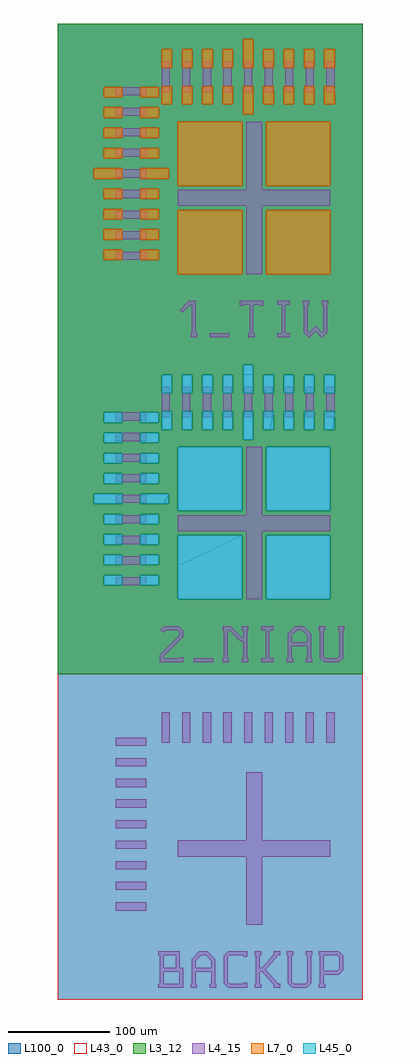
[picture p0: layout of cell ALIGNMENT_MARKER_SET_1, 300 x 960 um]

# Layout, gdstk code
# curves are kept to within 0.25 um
import gdstk
lib = gdstk.Library(unit=1e-6, precision=5e-09)
def R(c, l, rs):  # rectangles x0, y0, x1, y1
    for r in rs: c.add(gdstk.rectangle(r[:2], r[2:], *l))
def A(c, l, x, y, w, h, nx, ny, dx, dy):  # array of equal rectangles
    R(c, l, [(x+i*dx, y+j*dy, x+i*dx+w, y+j*dy+h) for i in range(nx) for j in range(ny)])
def P(c, l, *ps):  # polygons
    for p in ps: c.add(gdstk.Polygon(p, *l))
L3_12 = (3, 12)
L4_15 = (4, 15)
L7_0 = (7, 0)
L43_0 = (43, 0)
L45_0 = (45, 0)
L100_0 = (100, 0)

alignment_marker_1 = lib.new_cell('ALIGNMENT_MARKER_1')
A(alignment_marker_1, L4_15, -136, -61, 30, 8, 1, 9, 0, 20.25)
A(alignment_marker_1, L4_15, -91, 104, 8, 30, 9, 1, 20.25, 0)
R(alignment_marker_1, L4_15, [(-62.525,-136.925,-56.16,-133.075), (-43.75,-136.925,-24.66,-133.075), (-5.885,-136.925,0.475,-133.075), (22.43,-136.925,35.16,-133.075), (-4.63,-135,-0.78,-103.18), (26.87,-135,30.72,-103.18), (22.43,-105.105,35.16,-101.255), (47.57,-105.105,53.93,-101.255), (66.66,-105.105,73.025,-101.255), (-8,-75,8,75), (-75,-8,75,8)])
P(alignment_marker_1, L4_15, [(-73.43,-110.41),(-64.275,-101.255),(-57.415,-101.255),(-57.415,-135),(-61.265,-135),(-61.265,-105.105),(-62.68,-105.105),(-70.705,-113.135)],
  [(-14.175,-106.365),(-14.175,-101.255),(8.765,-101.255),(8.765,-106.365),(4.915,-106.365),(4.915,-105.105),(-10.325,-105.105),(-10.325,-106.365)],
  [(52.675,-103.18),(52.675,-131.02),(53.93,-132.28),(60.295,-125.915),(66.66,-132.28),(67.915,-131.02),(67.915,-103.18),(71.765,-103.18),(71.765,-132.615),(66.66,-137.72),(60.295,-131.36),(53.93,-137.72),(48.825,-132.615),(48.825,-103.18)])

alignment_marker_2 = lib.new_cell('ALIGNMENT_MARKER_2')
A(alignment_marker_2, L7_0, -148, -61, 18, 10, 1, 4, 0, 20)
A(alignment_marker_2, L7_0, -112, -61, 18, 10, 1, 4, 0, 20)
A(alignment_marker_2, L7_0, -148, 39, 18, 10, 1, 4, 0, 20)
A(alignment_marker_2, L7_0, -112, 39, 18, 10, 1, 4, 0, 20)
A(alignment_marker_2, L7_0, -91, 92, 10, 18, 4, 2, 20, 36)
A(alignment_marker_2, L7_0, 9, 92, 10, 18, 4, 2, 20, 36)
R(alignment_marker_2, L7_0, [(-75,-75,-12,-12), (12,-75,75,-12), (-75,12,-12,75), (12,12,75,75), (-158,19,-130,29), (-112,19,-84,29), (-11,82,-1,110), (-11,128,-1,156)])

alignment_marker_3 = lib.new_cell('ALIGNMENT_MARKER_3')
A(alignment_marker_3, L4_15, -136, -61, 30, 8, 1, 9, 0, 20.25)
A(alignment_marker_3, L4_15, -91, 104, 8, 30, 9, 1, 20.25, 0)
R(alignment_marker_3, L4_15, [(-59.5,-136.925,-40.41,-133.075), (-31.18,-136.925,-24.82,-133.075), (-12.09,-136.925,-5.725,-133.075), (6.68,-136.925,19.41,-133.075), (31.82,-136.925,38.18,-133.075), (50.91,-136.925,57.275,-133.075), (-29.925,-135,-26.075,-103.18), (-10.835,-135,-6.985,-103.18), (11.12,-135,14.97,-103.18), (35,-121.015,54.09,-117.165), (-12.09,-105.105,-5.725,-101.255), (6.68,-105.105,19.41,-101.255), (63.32,-105.105,69.68,-101.255), (82.41,-105.105,88.775,-101.255), (-8,-75,8,75), (-75,-8,75,8)])
P(alignment_marker_3, L4_15, [(-92.36,-105),(-88.615,-101.255),(-74.295,-101.255),(-69.985,-105.565),(-69.985,-111.935),(-89.075,-131.025),(-89.075,-133.075),(-73.835,-133.075),(-73.835,-131.82),(-69.985,-131.82),(-69.985,-136.925),(-92.925,-136.925),(-92.925,-129.43),(-73.835,-110.34),(-73.835,-107.16),(-75.89,-105.105),(-87.02,-105.105),(-89.64,-107.725)],
  [(-31.18,-101.255),(-23.065,-101.255),(-12.25,-112.075),(-8.91,-112.075),(-8.91,-115.925),(-13.845,-115.925),(-24.66,-105.105),(-31.18,-105.105)],
  [(33.075,-135),(33.075,-108.75),(40.565,-101.255),(48.525,-101.255),(56.015,-108.75),(56.015,-135),(52.165,-135),(52.165,-110.345),(46.93,-105.105),(42.16,-105.105),(36.925,-110.345),(36.925,-135)],
  [(68.425,-103.18),(68.425,-131.02),(70.48,-133.075),(81.61,-133.075),(83.665,-131.02),(83.665,-103.18),(87.515,-103.18),(87.515,-132.615),(83.205,-136.925),(68.885,-136.925),(64.575,-132.615),(64.575,-103.18)])

alignment_marker_4 = lib.new_cell('ALIGNMENT_MARKER_4')
A(alignment_marker_4, L45_0, -148, -61, 18, 10, 1, 4, 0, 20)
A(alignment_marker_4, L45_0, -112, -61, 18, 10, 1, 4, 0, 20)
A(alignment_marker_4, L45_0, -148, 39, 18, 10, 1, 4, 0, 20)
A(alignment_marker_4, L45_0, -112, 39, 18, 10, 1, 4, 0, 20)
A(alignment_marker_4, L45_0, -91, 92, 10, 18, 4, 2, 20, 36)
A(alignment_marker_4, L45_0, 9, 92, 10, 18, 4, 2, 20, 36)
R(alignment_marker_4, L45_0, [(-75,-75,-12,-12), (12,-75,75,-12), (-75,12,-12,75), (12,12,75,75), (-158,19,-130,29), (-112,19,-84,29), (-11,82,-1,110), (-11,128,-1,156)])

alignment_marker_5 = lib.new_cell('ALIGNMENT_MARKER_5')
A(alignment_marker_5, L4_15, -62.68, -136.925, 6.36, 3.85, 3, 1, 63, 0)
A(alignment_marker_5, L4_15, -136, -61, 30, 8, 1, 9, 0, 20.25)
A(alignment_marker_5, L4_15, -91, 104, 8, 30, 9, 1, 20.25, 0)
R(alignment_marker_5, L4_15, [(-43.59,-136.925,-37.225,-133.075), (19.41,-136.925,25.775,-133.075), (-92.925,-135,-89.075,-103.18), (1.575,-135,5.425,-103.18), (64.575,-135,68.425,-103.18), (-91,-121.015,-71.91,-117.165), (-59.5,-121.015,-40.41,-117.165), (0.32,-105.105,6.68,-101.255), (19.41,-105.105,25.775,-101.255), (31.82,-105.105,38.18,-101.255), (50.91,-105.105,57.275,-101.255), (-8,-75,8,75), (-75,-8,75,8)])
P(alignment_marker_5, L4_15, [(-94.18,-101.255),(-73.165,-101.255),(-73.165,-117.165),(-69.985,-117.165),(-69.985,-136.925),(-94.18,-136.925),(-94.18,-133.075),(-73.835,-133.075),(-73.835,-121.015),(-77.015,-121.015),(-77.015,-105.105),(-94.18,-105.105)],
  [(-61.425,-135),(-61.425,-108.75),(-53.935,-101.255),(-45.975,-101.255),(-38.485,-108.75),(-38.485,-135),(-42.335,-135),(-42.335,-110.345),(-47.57,-105.105),(-52.34,-105.105),(-57.575,-110.345),(-57.575,-135)],
  [(-6.985,-131.82),(-6.985,-136.925),(-25.615,-136.925),(-29.925,-132.615),(-29.925,-105.565),(-25.615,-101.255),(-6.985,-101.255),(-6.985,-106.365),(-10.835,-106.365),(-10.835,-105.105),(-24.02,-105.105),(-26.075,-107.16),(-26.075,-131.02),(-24.02,-133.075),(-10.835,-133.075),(-10.835,-131.82)],
  [(3.5,-117.165),(7.415,-117.165),(21.16,-101.895),(24.02,-104.47),(9.13,-121.015),(3.5,-121.015)],
  [(9.705,-117.805),(24.02,-133.71),(21.16,-136.29),(6.84,-120.38)],
  [(36.925,-103.18),(36.925,-131.02),(38.98,-133.075),(50.11,-133.075),(52.165,-131.02),(52.165,-103.18),(56.015,-103.18),(56.015,-132.615),(51.705,-136.925),(37.385,-136.925),(33.075,-132.615),(33.075,-103.18)],
  [(63.32,-101.255),(83.205,-101.255),(87.515,-105.565),(87.515,-119.89),(83.205,-124.2),(66.5,-124.2),(66.5,-120.35),(81.61,-120.35),(83.665,-118.295),(83.665,-107.16),(81.61,-105.105),(63.32,-105.105)])

alignment_marker_6 = lib.new_cell('ALIGNMENT_MARKER_6')
R(alignment_marker_6, L100_0, [(-193.5,-148.5,106.5,171.5)])

alignment_marker_7 = lib.new_cell('ALIGNMENT_MARKER_7')
R(alignment_marker_7, L100_0, [(-193.5,-148.5,106.5,171.5)])

alignment_marker_8 = lib.new_cell('ALIGNMENT_MARKER_8')
R(alignment_marker_8, L100_0, [(-193.5,-148.5,106.5,171.5)])

alignment_marker_set_1 = lib.new_cell('ALIGNMENT_MARKER_SET_1')
P(alignment_marker_set_1, L3_12, [(-1,-210),(9,-210),(9,-228),(19,-228),(19,-210),(39,-210),(29,-210),(29,-228),(39,-228),(39,-210),(19,-210),(12,-245),(12,-308),(75,-308),(75,-245),(79,-210),(49,-210),(49,-228),(59,-228),(59,-210),(69,-210),(69,-228),(79,-228),(79,-210),(75,-245),(75,-332),(12,-332),(12,-395),(75,-395),(75,-332),(-12,-332),(-94,-371),(-94,-351),(-148,-351),(-148,-361),(-130,-361),(-130,-211),(-148,-211),(-148,-221),(-130,-221),(-130,-231),(-148,-231),(-148,-241),(-130,-241),(-130,-211),(-130,-251),(-148,-251),(-148,-261),(-130,-261),(-130,-251),(-130,-271),(-148,-271),(-148,-281),(-130,-281),(-130,-271),(-130,-291),(-158,-291),(-158,-301),(-130,-301),(-130,-291),(-130,-311),(-148,-311),(-148,-321),(-130,-321),(-130,-311),(-130,-331),(-148,-331),(-148,-341),(-130,-341),(-130,-331),(-130,-351),(-112,-351),(-112,-361),(-94,-361),(-94,-351),(-94,-371),(-130,-371),(-193.5,-468.5),(-193.5,171.5),(106.5,171.5),(106.5,-468.5),(-193.5,-468.5),(-130,-371),(-148,-371),(-148,-381),(-130,-381),(-130,-371),(-94,-371),(-112,-371),(-112,-381),(-94,-381),(-94,-371),(-12,-332),(-75,-332),(-94,-331),(-94,-311),(-84,-291),(-94,-271),(-112,-271),(-112,-281),(-94,-281),(-94,-271),(-84,-291),(-112,-291),(-112,-301),(-84,-301),(-84,-291),(-94,-311),(-112,-311),(-112,-321),(-94,-321),(-94,-311),(-94,-331),(-112,-331),(-112,-341),(-94,-341),(-94,-331),(-75,-332),(-75,-395),(-12,-395),(-12,-332),(75,-332),(75,-245),(-75,-245),(-81,-210),(-81,-174),(-91,-174),(-91,-192),(-81,-192),(-81,-174),(-81,-210),(-91,-210),(-94,-211),(-112,-211),(-112,-221),(-94,-221),(-94,-211),(-91,-210),(-91,-228),(-94,-231),(-112,-231),(-112,-241),(-94,-241),(-94,-231),(-91,-228),(-81,-228),(-81,-210),(-75,-245),(-94,-251),(-112,-251),(-112,-261),(-94,-261),(-94,-251),(-75,-245),(-75,-308),(-12,-308),(-12,-245),(-21,-210),(-71,-210),(-71,-228),(-61,-228),(-61,-210),(-51,-210),(-51,-228),(-41,-228),(-41,-210),(-31,-210),(-31,-228),(-21,-228),(-21,-210),(-12,-245),(12,-245),(19,-210),(19,-174),(-71,-174),(-71,-192),(-61,-192),(-61,-174),(-51,-174),(-51,-192),(-41,-192),(-41,-174),(-31,-174),(-31,-192),(-21,-192),(-21,-174),(9,-174),(-1,-164),(-11,-164),(-11,-192),(-1,-192),(-1,-164),(9,-174),(9,-192),(19,-192),(19,-174),(39,-174),(29,-174),(29,-192),(39,-192),(39,-174),(59,-174),(49,-174),(49,-192),(59,-192),(59,-174),(79,-174),(69,-174),(69,-192),(79,-192),(79,-174),(19,-174),(19,-210),(-11,-210),(-11,-238),(-1,-238)])
P(alignment_marker_set_1, L43_0, [(-1,110),(9,110),(9,92),(19,92),(19,110),(39,110),(29,110),(29,92),(39,92),(39,110),(19,110),(12,75),(12,12),(75,12),(75,75),(79,110),(49,110),(49,92),(59,92),(59,110),(69,110),(69,92),(79,92),(79,110),(75,75),(75,-12),(12,-12),(12,-75),(75,-75),(75,-12),(-12,-12),(-94,-51),(-94,-31),(-148,-31),(-148,-41),(-130,-41),(-130,109),(-148,109),(-148,99),(-130,99),(-130,89),(-148,89),(-148,79),(-130,79),(-130,109),(-130,69),(-148,69),(-148,59),(-130,59),(-130,69),(-130,49),(-148,49),(-148,39),(-130,39),(-130,49),(-130,29),(-158,29),(-158,19),(-130,19),(-130,29),(-130,9),(-148,9),(-148,-1),(-130,-1),(-130,9),(-130,-11),(-148,-11),(-148,-21),(-130,-21),(-130,-11),(-130,-31),(-112,-31),(-112,-41),(-94,-41),(-94,-31),(-94,-51),(-130,-51),(-193.5,-148.5),(-193.5,171.5),(106.5,171.5),(106.5,-788.5),(-193.5,-788.5),(-193.5,-148.5),(-130,-51),(-148,-51),(-148,-61),(-130,-61),(-130,-51),(-94,-51),(-112,-51),(-112,-61),(-94,-61),(-94,-51),(-12,-12),(-75,-12),(-94,-11),(-94,9),(-84,29),(-94,49),(-112,49),(-112,39),(-94,39),(-94,49),(-84,29),(-112,29),(-112,19),(-84,19),(-84,29),(-94,9),(-112,9),(-112,-1),(-94,-1),(-94,9),(-94,-11),(-112,-11),(-112,-21),(-94,-21),(-94,-11),(-75,-12),(-75,-75),(-12,-75),(-12,-12),(75,-12),(75,75),(-75,75),(-81,110),(-81,146),(-91,146),(-91,128),(-81,128),(-81,146),(-81,110),(-91,110),(-94,109),(-112,109),(-112,99),(-94,99),(-94,109),(-91,110),(-91,92),(-94,89),(-112,89),(-112,79),(-94,79),(-94,89),(-91,92),(-81,92),(-81,110),(-75,75),(-94,69),(-112,69),(-112,59),(-94,59),(-94,69),(-75,75),(-75,12),(-12,12),(-12,75),(-21,110),(-71,110),(-71,92),(-61,92),(-61,110),(-51,110),(-51,92),(-41,92),(-41,110),(-31,110),(-31,92),(-21,92),(-21,110),(-12,75),(12,75),(19,110),(19,146),(-71,146),(-71,128),(-61,128),(-61,146),(-51,146),(-51,128),(-41,128),(-41,146),(-31,146),(-31,128),(-21,128),(-21,146),(9,146),(-1,156),(-11,156),(-11,128),(-1,128),(-1,156),(9,146),(9,128),(19,128),(19,146),(39,146),(29,146),(29,128),(39,128),(39,146),(59,146),(49,146),(49,128),(59,128),(59,146),(79,146),(69,146),(69,128),(79,128),(79,146),(19,146),(19,110),(-11,110),(-11,82),(-1,82)])
alignment_marker_set_1.add(gdstk.Reference(alignment_marker_1, (0,0)))
alignment_marker_set_1.add(gdstk.Reference(alignment_marker_2, (0,0)))
alignment_marker_set_1.add(gdstk.Reference(alignment_marker_3, (0,-320)))
alignment_marker_set_1.add(gdstk.Reference(alignment_marker_4, (0,-320)))
alignment_marker_set_1.add(gdstk.Reference(alignment_marker_5, (0,-640)))
alignment_marker_set_1.add(gdstk.Reference(alignment_marker_6, (0,0)))
alignment_marker_set_1.add(gdstk.Reference(alignment_marker_7, (0,-320)))
alignment_marker_set_1.add(gdstk.Reference(alignment_marker_8, (0,-640)))

lib.write_gds('ALIGNMENT_MARKER_SET_1.gds')
